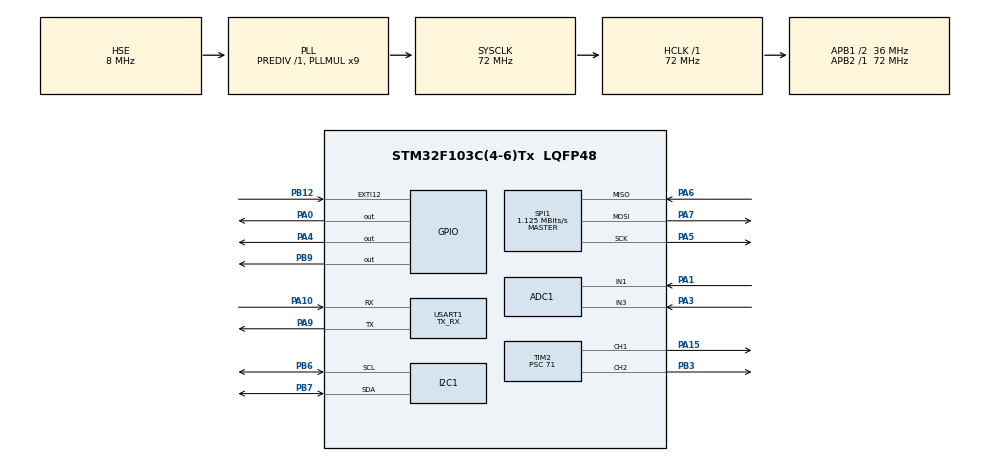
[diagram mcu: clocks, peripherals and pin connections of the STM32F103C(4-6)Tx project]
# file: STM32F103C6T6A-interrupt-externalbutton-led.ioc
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ADC1.Channel-11\#ChannelRegularConversion=ADC_CHANNEL_VREFINT
ADC1.Channel-6\#ChannelRegularConversion=ADC_CHANNEL_1
ADC1.Channel-8\#ChannelRegularConversion=ADC_CHANNEL_3
ADC1.Channel-9\#ChannelRegularConversion=ADC_CHANNEL_TEMPSENSOR
ADC1.ContinuousConvMode=ENABLE
ADC1.EnableRegularConversion=ENABLE
ADC1.NbrOfConversion=4
ADC1.NbrOfConversionFlag=1
ADC1.Rank-11\#ChannelRegularConversion=4
ADC1.Rank-6\#ChannelRegularConversion=1
ADC1.Rank-8\#ChannelRegularConversion=2
ADC1.Rank-9\#ChannelRegularConversion=3
ADC1.SamplingTime-11\#ChannelRegularConversion=ADC_SAMPLETIME_239CYCLES_5
ADC1.SamplingTime-6\#ChannelRegularConversion=ADC_SAMPLETIME_239CYCLES_5
ADC1.SamplingTime-8\#ChannelRegularConversion=ADC_SAMPLETIME_239CYCLES_5
ADC1.SamplingTime-9\#ChannelRegularConversion=ADC_SAMPLETIME_239CYCLES_5
ADC1.master=1
Dma.ADC1.0.Direction=DMA_PERIPH_TO_MEMORY
Dma.ADC1.0.Instance=DMA1_Channel1
Dma.ADC1.0.MemDataAlignment=DMA_MDATAALIGN_WORD
Dma.ADC1.0.MemInc=DMA_MINC_ENABLE
Dma.ADC1.0.Mode=DMA_CIRCULAR
Dma.ADC1.0.PeriphDataAlignment=DMA_PDATAALIGN_WORD
Dma.ADC1.0.PeriphInc=DMA_PINC_DISABLE
Dma.ADC1.0.Priority=DMA_PRIORITY_LOW
Dma.Request0=ADC1
Dma.Request1=USART1_RX
Dma.Request2=USART1_TX
Dma.USART1_RX.1.Direction=DMA_PERIPH_TO_MEMORY
Dma.USART1_RX.1.Instance=DMA1_Channel5
Dma.USART1_RX.1.MemDataAlignment=DMA_MDATAALIGN_BYTE
Dma.USART1_RX.1.MemInc=DMA_MINC_ENABLE
Dma.USART1_RX.1.Mode=DMA_CIRCULAR
Dma.USART1_RX.1.PeriphDataAlignment=DMA_PDATAALIGN_BYTE
Dma.USART1_RX.1.PeriphInc=DMA_PINC_DISABLE
Dma.USART1_RX.1.Priority=DMA_PRIORITY_LOW
Dma.USART1_TX.2.Direction=DMA_MEMORY_TO_PERIPH
Dma.USART1_TX.2.Instance=DMA1_Channel4
Dma.USART1_TX.2.MemDataAlignment=DMA_MDATAALIGN_BYTE
Dma.USART1_TX.2.MemInc=DMA_MINC_ENABLE
Dma.USART1_TX.2.Mode=DMA_NORMAL
Dma.USART1_TX.2.PeriphDataAlignment=DMA_PDATAALIGN_BYTE
Dma.USART1_TX.2.PeriphInc=DMA_PINC_DISABLE
Dma.USART1_TX.2.Priority=DMA_PRIORITY_LOW
I2C1.OwnAddress=0x31
Mcu.Family=STM32F1
Mcu.Name=STM32F103C(4-6)Tx
Mcu.Package=LQFP48
NVIC.ADC1_2_IRQn=true\:0\:0\:false\:false\:true\:true\:true\:true
NVIC.DMA1_Channel1_IRQn=true\:0\:0\:false\:false\:true\:false\:true\:true
NVIC.DMA1_Channel4_IRQn=true\:0\:0\:false\:false\:true\:false\:true\:true
NVIC.DMA1_Channel5_IRQn=true\:0\:0\:false\:false\:true\:false\:true\:true
NVIC.EXTI15_10_IRQn=true\:0\:0\:false\:false\:true\:true\:true\:true
NVIC.PriorityGroup=NVIC_PRIORITYGROUP_4
NVIC.TIM1_UP_IRQn=true\:0\:0\:false\:false\:true\:true\:true\:true
NVIC.USART1_IRQn=true\:0\:0\:false\:false\:true\:true\:true\:true
PA0-WKUP.Signal=GPIO_Output
PA1.Signal=ADCx_IN1
PA10.Mode=Asynchronous
PA10.Signal=USART1_RX
PA13.Mode=Serial_Wire
PA13.Signal=SYS_JTMS-SWDIO
PA14.Mode=Serial_Wire
PA14.Signal=SYS_JTCK-SWCLK
PA15.Signal=S_TIM2_CH1_ETR
PA3.Signal=ADCx_IN3
PA4.Signal=GPIO_Output
PA5.Mode=Full_Duplex_Master
PA5.Signal=SPI1_SCK
PA6.Mode=Full_Duplex_Master
PA6.Signal=SPI1_MISO
PA7.Mode=Full_Duplex_Master
PA7.Signal=SPI1_MOSI
PA9.Mode=Asynchronous
PA9.Signal=USART1_TX
PB12.GPIO_ModeDefaultEXTI=GPIO_MODE_IT_RISING_FALLING
PB12.GPIO_PuPd=GPIO_PULLDOWN
PB12.Signal=GPXTI12
PB3.Signal=S_TIM2_CH2
PB6.Mode=I2C
PB6.Signal=I2C1_SCL
PB7.Mode=I2C
PB7.Signal=I2C1_SDA
PB9.Signal=GPIO_Output
PD0-OSC_IN.Mode=HSE-External-Oscillator
PD0-OSC_IN.Signal=RCC_OSC_IN
PD1-OSC_OUT.Mode=HSE-External-Oscillator
PD1-OSC_OUT.Signal=RCC_OSC_OUT
ProjectManager.HeapSize=0x200
ProjectManager.StackSize=0x400
ProjectManager.TargetToolchain=CMake
RCC.ADCPresc=RCC_ADCPCLK2_DIV6
RCC.AHBFreq_Value=72000000
RCC.APB1CLKDivider=RCC_HCLK_DIV2
RCC.APB1Freq_Value=36000000
RCC.APB1TimFreq_Value=72000000
RCC.APB2Freq_Value=72000000
RCC.APB2TimFreq_Value=72000000
RCC.DATA_CACHE_ENABLE=1
RCC.HCLKFreq_Value=72000000
RCC.INSTRUCTION_CACHE_ENABLE=1
RCC.PLLMUL=RCC_PLL_MUL9
RCC.PLLSourceVirtual=RCC_PLLSOURCE_HSE
RCC.PWR_Regulator_Voltage_Scale=PWR_REGULATOR_VOLTAGE_SCALE1
RCC.RCC_TIM_PRescaler_Selection=RCC_TIMPRES_DESACTIVATED
RCC.SYSCLKFreq_VALUE=72000000
RCC.SYSCLKSource=RCC_SYSCLKSOURCE_PLLCLK
RCC.USBFreq_Value=72000000
SH.ADCx_IN1.0=ADC1_IN1,IN1
SH.ADCx_IN3.0=ADC1_IN3,IN3
SH.S_TIM2_CH1_ETR.0=TIM2_CH1,PWM Generation1 CH1
SH.S_TIM2_CH2.0=TIM2_CH2,PWM Generation2 CH2
SPI1.BaudRatePrescaler=SPI_BAUDRATEPRESCALER_64
SPI1.CalculateBaudRate=1.125 MBits/s
SPI1.Direction=SPI_DIRECTION_2LINES
SPI1.Mode=SPI_MODE_MASTER
SPI1.VirtualType=VM_MASTER
TIM1.Period=9999
TIM1.Prescaler=14399
TIM2.Channel-PWM\ Generation1\ CH1=TIM_CHANNEL_1
TIM2.Channel-PWM\ Generation2\ CH2=TIM_CHANNEL_2
TIM2.Period=999
TIM2.Prescaler=71
USART1.Mode=MODE_TX_RX
USART1.VirtualMode=VM_ASYNC
VP_ADC1_TempSens_Input.Mode=IN-TempSens
VP_ADC1_Vref_Input.Mode=IN-Vrefint
VP_TIM1_VS_ClockSourceINT.Mode=Internal
board=custom

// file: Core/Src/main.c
/* USER CODE BEGIN Header */
/**
  ******************************************************************************
  * @file           : main.c
  * @brief          : Main program body
  ******************************************************************************
  * @attention
  *
  * Copyright (c) 2026 STMicroelectronics.
  * All rights reserved.
  *
  * This software is licensed under terms that can be found in the LICENSE file
  * in the root directory of this software component.
  * If no LICENSE file comes with this software, it is provided AS-IS.
  *
  ******************************************************************************
  */
/* USER CODE END Header */
#include "main.h"

/* USER CODE BEGIN Includes */
#include <stdbool.h>
#include <string.h>
#include <stdio.h>
#include "MFRC522.h"
#define MY_MAP(x, in_min, in_max, out_min, out_max) \
    (((x) - (in_min)) * ((out_max) - (out_min)) / ((in_max) - (in_min)) + (out_min))

#define DS3231_ADDR  0x68 << 1  // HAL için 8-bit adres = 0xD0
#define DS3231_EEPROM_AT24C32_ADDR  (0x57 << 1)  // 0xAE
#define LCD_ADDR (0x27 << 1) // veya 0x4E

/* USER CODE END Includes */

ADC_HandleTypeDef hadc1;
DMA_HandleTypeDef hdma_adc1;

I2C_HandleTypeDef hi2c1;

SPI_HandleTypeDef hspi1;

TIM_HandleTypeDef htim1;
TIM_HandleTypeDef htim2;

UART_HandleTypeDef huart1;
DMA_HandleTypeDef hdma_usart1_rx;
DMA_HandleTypeDef hdma_usart1_tx;

/* USER CODE BEGIN PV */
MFRC522_HandleTypeDef rfid;
/* USER CODE END PV */

void SystemClock_Config(void);
static void MX_GPIO_Init(void);
static void MX_DMA_Init(void);
static void MX_ADC1_Init(void);
static void MX_TIM1_Init(void);
static void MX_TIM2_Init(void);
static void MX_USART1_UART_Init(void);
static void MX_I2C1_Init(void);
static void MX_SPI1_Init(void);

/* USER CODE BEGIN 0 */
volatile int counter = 0;
uint8_t channelIndex = 0;
uint32_t adcChannels[4];
uint32_t myAdcValueNTC = 0;
uint8_t myAdcShortValueCelsius = 0;
uint16_t timerCounter = 0;
uint16_t ledBrightness = 0;

uint8_t rxBufferDMA[20];

uint8_t rxDataChar;
uint8_t rxDataStringBuffer[10];
uint8_t rxReadyString[10];
uint8_t rxIndex = 0;
bool rxDataReadyFlag = 0;
bool txSuccessFlag = 0;

char txMsgDMA[] = "Hello DMA World!\r\n";

int _write(int file, char* ptr, int len) {
    // Veriyi UART üzerinden bloklayıcı modda gönder
    HAL_StatusTypeDef status = HAL_UART_Transmit(&huart1, (uint8_t*)ptr, len, HAL_MAX_DELAY);
    return (status == HAL_OK) ? len : 0;
}

void printBinary(uint8_t v) {
    for (int i = 7; i >= 0; i--)
        printf("%d", (v >> i) & 1);
}

///////////// DS3231 RTC BEGIN ////////////////

uint8_t dec2bcd(uint8_t val) { return ((val / 10) << 4) | (val % 10); }
uint8_t bcd2dec(uint8_t val) { return ((val >> 4) * 10) + (val & 0x0F); }

typedef struct {
    uint8_t sn, dk, sa;
    uint8_t gun, tarih, ay, yil;
} DS3231_t;

void DS3231_GetDateTime(DS3231_t* dt) {
    uint8_t reg = 0x00; // cursor'ı 0x00'a taşı
    uint8_t buf[7];

    // Önce cursor'ı 0x00'a al
    HAL_I2C_Master_Transmit(&hi2c1, DS3231_ADDR, &reg, 1, HAL_MAX_DELAY);

    // 7 byte oku: sn, dk, sa, gun, tarih, ay, yil
    // Master 7×8 = 56 clock üretir, her byte sonrası ACK gönderir
    // Son byte'tan sonra NACK gönderip STOP ile iletişimi keser
    HAL_I2C_Master_Receive(&hi2c1, DS3231_ADDR, buf, 7, HAL_MAX_DELAY);

    dt->sn = bcd2dec(buf[0] & 0x7F); // bit7 her zaman 0, maskeliyoruz
    dt->dk = bcd2dec(buf[1] & 0x7F);
    dt->sa = bcd2dec(buf[2] & 0x3F); // bit7,6 mod bitleri, maskeliyoruz
    dt->gun = bcd2dec(buf[3] & 0x07); // bit2-0 geçerli
    dt->tarih = bcd2dec(buf[4] & 0x3F);
    dt->ay = bcd2dec(buf[5] & 0x1F); // bit4-0 geçerli
    dt->yil = bcd2dec(buf[6]);
}

void DS3231_SetDateTime(uint8_t sn, uint8_t dk, uint8_t sa,
                        uint8_t gun, uint8_t tarih, uint8_t ay, uint8_t yil) {
    uint8_t data[8];

    data[0] = 0x00; // cursor'ı 0x00'a (saniye register'ına) taşı
    data[1] = dec2bcd(sn); // 0x00 → saniye
    data[2] = dec2bcd(dk); // 0x01 → dakika
    data[3] = dec2bcd(sa); // 0x02 → saat
    data[4] = dec2bcd(gun); // 0x03 → haftanın günü
    data[5] = dec2bcd(tarih); // 0x04 → ayın günü
    data[6] = dec2bcd(ay); // 0x05 → ay
    data[7] = dec2bcd(yil); // 0x06 → yıl (2025 için 25 gönder)

    // 8 byte gönder: 1 byte register adresi + 7 byte veri
    HAL_I2C_Master_Transmit(&hi2c1, DS3231_ADDR, data, 8, HAL_MAX_DELAY);
}

// Tek byte yazma
void EEPROM_WriteByte(uint16_t adres, uint8_t veri) {
    HAL_StatusTypeDef status = HAL_I2C_Mem_Write(&hi2c1, DS3231_EEPROM_AT24C32_ADDR, adres, I2C_MEMADD_SIZE_16BIT,
                                                 &veri, 1, HAL_MAX_DELAY);
    if (status != HAL_OK) {
        printf("EEPROM Yazma Hatasi: %d\r\n", status);
    }
    HAL_Delay(10); // EEPROM dahili yazma döngüsü için bekleme (genelde 5ms sürer)
}

// Tek byte okuma
uint8_t EEPROM_ReadByte(uint16_t adres) {
    uint8_t veri;
    HAL_I2C_Mem_Read(&hi2c1, DS3231_EEPROM_AT24C32_ADDR, adres, I2C_MEMADD_SIZE_16BIT, &veri, 1, HAL_MAX_DELAY);
    return veri;
}

///////////// DS3231 RTC END ////////////////

///////////// LCD I2C BEGIN ////////////////

uint8_t lcd_backlight_val = 0x08; // Varsayılan olarak açık (0x08)

void lcd_send_cmd(char cmd) {
    char data_u, data_l;
    uint8_t data_t[4];
    data_u = (cmd & 0xf0);
    data_l = ((cmd << 4) & 0xf0);
    data_t[0] = data_u | 0x04 | lcd_backlight_val; // en=1, rs=0
    data_t[1] = data_u | lcd_backlight_val; // en=0, rs=0
    data_t[2] = data_l | 0x04 | lcd_backlight_val; // en=1, rs=0
    data_t[3] = data_l | lcd_backlight_val; // en=0, rs=0
    HAL_I2C_Master_Transmit(&hi2c1, LCD_ADDR, (uint8_t*)data_t, 4, 100);
}

void lcd_send_data(char data) {
    char data_u, data_l;
    uint8_t data_t[4];
    data_u = (data & 0xf0);
    data_l = ((data << 4) & 0xf0);
    data_t[0] = data_u | 0x05 | lcd_backlight_val; // EN=1, RS=1
    data_t[1] = data_u | 0x01 | lcd_backlight_val; // EN=0, RS=1
    data_t[2] = data_l | 0x05 | lcd_backlight_val; // EN=1, RS=1
    data_t[3] = data_l | 0x01 | lcd_backlight_val; // EN=0, RS=1
    HAL_I2C_Master_Transmit(&hi2c1, LCD_ADDR, (uint8_t*)data_t, 4, 100);
}

// LCD Başlatma Ayarları
void lcd_init(void) {
    HAL_Delay(50); // LCD'nin kendine gelmesi için bekleme
    lcd_send_cmd(0x30);
    HAL_Delay(5);
    lcd_send_cmd(0x30);
    HAL_Delay(1);
    lcd_send_cmd(0x30);
    HAL_Delay(10);
    lcd_send_cmd(0x20); // 4-bit moduna geçiş
    HAL_Delay(10);

    lcd_send_cmd(0x28); // 2 satır, 5x8 font
    HAL_Delay(1);
    lcd_send_cmd(0x08); // Ekran kapalı
    HAL_Delay(1);
    lcd_send_cmd(0x01); // Ekranı temizle
    HAL_Delay(2);
    lcd_send_cmd(0x06); // Giriş modu: Otomatik artır
    HAL_Delay(1);
    lcd_send_cmd(0x0C); // Ekran açık, imleç kapalı
}

// Ekrana string yazdırma fonksiyonu
void lcd_send_string(char* str) {
    while (*str) lcd_send_data(*str++);
}

// Belirli bir koordinata gitme
void lcd_put_cur(int row, int col) {
    switch (row) {
    case 0: col |= 0x80;
        break;
    case 1: col |= 0xC0;
        break;
    }
    lcd_send_cmd(col);
}

void lcd_backlight_on(void) {
    lcd_backlight_val = 0x08;
    lcd_send_cmd(0x00); // Durumu güncellemek için boş komut gönder
}

void lcd_backlight_off(void) {
    lcd_backlight_val = 0x00;
    lcd_send_cmd(0x00); // Durumu güncellemek için boş komut gönder
}

//////////// LCD I2C END ///////////////////

void HAL_SYSTICK_Callback(void) {
    ledBrightness = MY_MAP(adcChannels[1], 0, 4096, 0, 1000);
    __HAL_TIM_SET_COMPARE(&htim2, TIM_CHANNEL_1, ledBrightness);
    __HAL_TIM_SET_COMPARE(&htim2, TIM_CHANNEL_2, ledBrightness);
}

void HAL_GPIO_EXTI_Callback(uint16_t GPIO_Pin) {
    if (GPIO_Pin == GPIO_PIN_12) {
        GPIO_PinState btnPinStatus = HAL_GPIO_ReadPin(GPIOB, GPIO_PIN_12);
        HAL_GPIO_WritePin(GPIOB, GPIO_PIN_9, btnPinStatus);
        HAL_GPIO_WritePin(GPIOA, GPIO_PIN_0, btnPinStatus);

        strcpy((char*)txMsgDMA, "Trigger inside\r\n");
        HAL_UART_Transmit_DMA(&huart1, (uint8_t*)txMsgDMA, strlen(txMsgDMA));

        //DS3231_SetDateTime(0, 29, 22, 3, 9, 4, 26); // 14:30:00, Salı, 01.04.2025
        //printf("Tarih Yazildi");
    }
}

void HAL_TIM_PeriodElapsedCallback(TIM_HandleTypeDef* htim) {
    if (htim->Instance == TIM1)
        HAL_GPIO_TogglePin(GPIOB, GPIO_PIN_9);
}

void HAL_UART_RxCpltCallback(UART_HandleTypeDef* huart) {
    if (huart->Instance == USART1) {
        if (rxDataChar == '\n') {
            for (int i = 0; i < 10; i++) {
                rxReadyString[i] = 0;
            }
            for (int i = 0; i < rxIndex; i++) {
                rxReadyString[i] = rxDataStringBuffer[i];
            }
            rxIndex = 0;
            rxDataReadyFlag = true;
        }
        else {
            if (rxIndex < 10) {
                rxDataStringBuffer[rxIndex] = rxDataChar;
                rxIndex++;
            }
            rxDataReadyFlag = false;
        }
        printf("%s", rxBufferDMA);
        // Bir sonraki baytı alabilmek için kesmeyi tekrar aktif etmelisiniz.
        //HAL_UART_Receive_IT(&huart1, &rxDataChar, 1);
    }
}

void HAL_UART_TxCpltCallback(UART_HandleTypeDef* huart) {
    if (huart->Instance == USART1) {
        // Veri başarıyla gönderildi.
        // Burada bir bayrağı (flag) set edebilir veya yeni bir transfer başlatabilirsiniz.
        txSuccessFlag = true;
    }
}

/*
void HAL_ADC_ConvCpltCallback(ADC_HandleTypeDef* hadc) {
    if (hadc->Instance == ADC1) {
        adcChannels[channelIndex] = HAL_ADC_GetValue(hadc);
        channelIndex++;

        if (channelIndex >= 2) {
            channelIndex = 0;
            // Buraya "Tüm kanallar okundu" bayrağı koyabilirsin
        }
        // HAL_ADC_Start_IT(hadc);
        //myAdcValueNTC = HAL_ADC_GetValue(hadc);
        //myAdcShortValueCelsius = MY_MAP(myAdcValueNTC, 1800, 3000, 15, 65);
        // Eğer Continuous Mode "Disabled" ise, bir sonraki ölçüm için tekrar başlatman gerekir:
        HAL_ADC_Start_IT(hadc);
    }
}
*/

/* USER CODE END 0 */

int main(void) {

    /* MCU Configuration--------------------------------------------------------*/

    /* Reset of all peripherals, Initializes the Flash interface and the Systick. */
    HAL_Init();

    /* Configure the system clock */
    SystemClock_Config();

    /* Initialize all configured peripherals */
    MX_GPIO_Init();
    MX_DMA_Init();
    MX_ADC1_Init();
    MX_TIM1_Init();
    MX_TIM2_Init();
    MX_USART1_UART_Init();
    MX_I2C1_Init();
    MX_SPI1_Init();
    /* USER CODE BEGIN 2 */
    HAL_ADC_Start_DMA(&hadc1, adcChannels, 4);
    //HAL_ADCEx_Calibration_Start(&hadc1);
    //HAL_TIM_Base_Start(&htim1);
    HAL_TIM_Base_Start_IT(&htim1);
    HAL_TIM_PWM_Start(&htim2, TIM_CHANNEL_1);
    HAL_TIM_PWM_Start(&htim2, TIM_CHANNEL_2);
    //HAL_UART_Receive_IT(&huart1, &rxDataChar, 1);
    HAL_UART_Receive_DMA(&huart1, rxBufferDMA, 20);
    ////////////////////////////////////////////
    rfid.hspi = &hspi1;
    rfid.csPort = GPIOA;
    rfid.csPin = GPIO_PIN_4;

    MFRC522_Init(&rfid);
    ////////////////////////////////////////////

    // printf("Sistem baslatildi...\n");

    // printf("I2C slave cihazlar taraniyor...\n");

    /*
    for (uint8_t addr = 1; addr < 128; addr++) {
        if (HAL_I2C_IsDeviceReady(&hi2c1, addr << 1, 1, 10) == HAL_OK) {
            // printf("Cihaz bulundu: 0x%02X\r\n", addr);
        }
    }
    */
    // DS3231 EEPROM
    EEPROM_WriteByte(0x0000, 0x65); // 0. adrese 65 yaz
    EEPROM_WriteByte(0x0001, 0x33);
    EEPROM_WriteByte(0x0002, 0x22);

    // DS3231_SetDateTime(0, 47, 20, 3, 1, 4, 26); // 14:30:00, Salı, 01.04.2025
    // printf("Tarih Yazildix");

    /* USER CODE BEGIN 2 */
    lcd_init();

    lcd_put_cur(0, 0); // 1. satır başı
    lcd_send_string("STM32 Hazir!");

    lcd_put_cur(1, 0); // 2. satır başı
    lcd_send_string("I2C Basarili");

    char buf[64];
    /* USER CODE END 2 */

    /* Infinite loop */
    while (1) {

        /* USER CODE BEGIN 3 */
        /*
        if (rxDataReadyFlag) {
            HAL_UART_Transmit(&huart1, rxReadyString, 10, 0xFFFF);
            rxDataReadyFlag = false;
        }
        */

        DS3231_t zaman;
        DS3231_GetDateTime(&zaman);

        printf("%02d:%02d:%02d  %02d/%02d/20%02d\r\n",
               zaman.sa, zaman.dk, zaman.sn,
               zaman.tarih, zaman.ay, zaman.yil);

        uint8_t eeprom_buffer[3];
        HAL_I2C_Mem_Read(&hi2c1, DS3231_EEPROM_AT24C32_ADDR, 0x0000, I2C_MEMADD_SIZE_16BIT, eeprom_buffer, 3,
                         HAL_MAX_DELAY);
        /*
        printf("EEPROM: 0x%02X, 0x%02X, 0x%02X\r\n", eeprom_buffer[0], eeprom_buffer[1], eeprom_buffer[2]);
        */

        strcpy((char*)txMsgDMA, "While Loop\r\n");
        HAL_UART_Transmit_DMA(&huart1, (uint8_t*)txMsgDMA, strlen(txMsgDMA));

        // printf("loop...\n");

        //////////////////////////////////////
        HAL_Delay(500);
        if (MFRC522_IsNewCardPresent(&rfid)) {
            MFRC522_UID uid;
            if (MFRC522_ReadCardSerial(&rfid, &uid)) {
                snprintf(buf, sizeof(buf),
                         "UID: %02X %02X %02X %02X\r\n",
                         uid.uid[0], uid.uid[1], uid.uid[2], uid.uid[3]);
                HAL_UART_Transmit_DMA(&huart1, (uint8_t*)buf, strlen(buf));
            }
        }
        HAL_Delay(200);

        //////////////////////////////////////
        HAL_Delay(500);
    }
    /* USER CODE END 3 */
}

void SystemClock_Config(void) {
    RCC_OscInitTypeDef RCC_OscInitStruct = {0};
    RCC_ClkInitTypeDef RCC_ClkInitStruct = {0};
    RCC_PeriphCLKInitTypeDef PeriphClkInit = {0};

    /** Initializes the RCC Oscillators according to the specified parameters
    * in the RCC_OscInitTypeDef structure.
    */
    RCC_OscInitStruct.OscillatorType = RCC_OSCILLATORTYPE_HSE;
    RCC_OscInitStruct.HSEState = RCC_HSE_ON;
    RCC_OscInitStruct.HSEPredivValue = RCC_HSE_PREDIV_DIV1;
    RCC_OscInitStruct.HSIState = RCC_HSI_ON;
    RCC_OscInitStruct.PLL.PLLState = RCC_PLL_ON;
    RCC_OscInitStruct.PLL.PLLSource = RCC_PLLSOURCE_HSE;
    RCC_OscInitStruct.PLL.PLLMUL = RCC_PLL_MUL9;
    if (HAL_RCC_OscConfig(&RCC_OscInitStruct) != HAL_OK) {
        Error_Handler();
    }

    /** Initializes the CPU, AHB and APB buses clocks
    */
    RCC_ClkInitStruct.ClockType = RCC_CLOCKTYPE_HCLK | RCC_CLOCKTYPE_SYSCLK
        | RCC_CLOCKTYPE_PCLK1 | RCC_CLOCKTYPE_PCLK2;
    RCC_ClkInitStruct.SYSCLKSource = RCC_SYSCLKSOURCE_PLLCLK;
    RCC_ClkInitStruct.AHBCLKDivider = RCC_SYSCLK_DIV1;
    RCC_ClkInitStruct.APB1CLKDivider = RCC_HCLK_DIV2;
    RCC_ClkInitStruct.APB2CLKDivider = RCC_HCLK_DIV1;

    if (HAL_RCC_ClockConfig(&RCC_ClkInitStruct, FLASH_LATENCY_2) != HAL_OK) {
        Error_Handler();
    }
    PeriphClkInit.PeriphClockSelection = RCC_PERIPHCLK_ADC;
    PeriphClkInit.AdcClockSelection = RCC_ADCPCLK2_DIV6;
    if (HAL_RCCEx_PeriphCLKConfig(&PeriphClkInit) != HAL_OK) {
        Error_Handler();
    }
}

static void MX_ADC1_Init(void) {

    ADC_ChannelConfTypeDef sConfig = {0};

    /** Common config
    */
    hadc1.Instance = ADC1;
    hadc1.Init.ScanConvMode = ADC_SCAN_ENABLE;
    hadc1.Init.ContinuousConvMode = ENABLE;
    hadc1.Init.DiscontinuousConvMode = DISABLE;
    hadc1.Init.ExternalTrigConv = ADC_SOFTWARE_START;
    hadc1.Init.DataAlign = ADC_DATAALIGN_RIGHT;
    hadc1.Init.NbrOfConversion = 4;
    if (HAL_ADC_Init(&hadc1) != HAL_OK) {
        Error_Handler();
    }

    /** Configure Regular Channel
    */
    sConfig.Channel = ADC_CHANNEL_1;
    sConfig.Rank = ADC_REGULAR_RANK_1;
    sConfig.SamplingTime = ADC_SAMPLETIME_239CYCLES_5;
    if (HAL_ADC_ConfigChannel(&hadc1, &sConfig) != HAL_OK) {
        Error_Handler();
    }

    /** Configure Regular Channel
    */
    sConfig.Channel = ADC_CHANNEL_3;
    sConfig.Rank = ADC_REGULAR_RANK_2;
    if (HAL_ADC_ConfigChannel(&hadc1, &sConfig) != HAL_OK) {
        Error_Handler();
    }

    /** Configure Regular Channel
    */
    sConfig.Channel = ADC_CHANNEL_TEMPSENSOR;
    sConfig.Rank = ADC_REGULAR_RANK_3;
    if (HAL_ADC_ConfigChannel(&hadc1, &sConfig) != HAL_OK) {
        Error_Handler();
    }

    /** Configure Regular Channel
    */
    sConfig.Channel = ADC_CHANNEL_VREFINT;
    sConfig.Rank = ADC_REGULAR_RANK_4;
    if (HAL_ADC_ConfigChannel(&hadc1, &sConfig) != HAL_OK) {
        Error_Handler();
    }
}

static void MX_I2C1_Init(void) {

    hi2c1.Instance = I2C1;
    hi2c1.Init.ClockSpeed = 100000;
    hi2c1.Init.DutyCycle = I2C_DUTYCYCLE_2;
    hi2c1.Init.OwnAddress1 = 98;
    hi2c1.Init.AddressingMode = I2C_ADDRESSINGMODE_7BIT;
    hi2c1.Init.DualAddressMode = I2C_DUALADDRESS_DISABLE;
    hi2c1.Init.OwnAddress2 = 0;
    hi2c1.Init.GeneralCallMode = I2C_GENERALCALL_DISABLE;
    hi2c1.Init.NoStretchMode = I2C_NOSTRETCH_DISABLE;
    if (HAL_I2C_Init(&hi2c1) != HAL_OK) {
        Error_Handler();
    }
}

static void MX_SPI1_Init(void) {

    /* SPI1 parameter configuration*/
    hspi1.Instance = SPI1;
    hspi1.Init.Mode = SPI_MODE_MASTER;
    hspi1.Init.Direction = SPI_DIRECTION_2LINES;
    hspi1.Init.DataSize = SPI_DATASIZE_8BIT;
    hspi1.Init.CLKPolarity = SPI_POLARITY_LOW;
    hspi1.Init.CLKPhase = SPI_PHASE_1EDGE;
    hspi1.Init.NSS = SPI_NSS_SOFT;
    hspi1.Init.BaudRatePrescaler = SPI_BAUDRATEPRESCALER_64;
    hspi1.Init.FirstBit = SPI_FIRSTBIT_MSB;
    hspi1.Init.TIMode = SPI_TIMODE_DISABLE;
    hspi1.Init.CRCCalculation = SPI_CRCCALCULATION_DISABLE;
    hspi1.Init.CRCPolynomial = 10;
    if (HAL_SPI_Init(&hspi1) != HAL_OK) {
        Error_Handler();
    }
}

static void MX_TIM1_Init(void) {

    TIM_ClockConfigTypeDef sClockSourceConfig = {0};
    TIM_MasterConfigTypeDef sMasterConfig = {0};

    htim1.Instance = TIM1;
    htim1.Init.Prescaler = 14399;
    htim1.Init.CounterMode = TIM_COUNTERMODE_UP;
    htim1.Init.Period = 9999;
    htim1.Init.ClockDivision = TIM_CLOCKDIVISION_DIV1;
    htim1.Init.RepetitionCounter = 0;
    htim1.Init.AutoReloadPreload = TIM_AUTORELOAD_PRELOAD_DISABLE;
    if (HAL_TIM_Base_Init(&htim1) != HAL_OK) {
        Error_Handler();
    }
    sClockSourceConfig.ClockSource = TIM_CLOCKSOURCE_INTERNAL;
    if (HAL_TIM_ConfigClockSource(&htim1, &sClockSourceConfig) != HAL_OK) {
        Error_Handler();
    }
    sMasterConfig.MasterOutputTrigger = TIM_TRGO_RESET;
    sMasterConfig.MasterSlaveMode = TIM_MASTERSLAVEMODE_DISABLE;
    if (HAL_TIMEx_MasterConfigSynchronization(&htim1, &sMasterConfig) != HAL_OK) {
        Error_Handler();
    }
}

static void MX_TIM2_Init(void) {

    TIM_MasterConfigTypeDef sMasterConfig = {0};
    TIM_OC_InitTypeDef sConfigOC = {0};

    htim2.Instance = TIM2;
    htim2.Init.Prescaler = 71;
    htim2.Init.CounterMode = TIM_COUNTERMODE_UP;
    htim2.Init.Period = 999;
    htim2.Init.ClockDivision = TIM_CLOCKDIVISION_DIV1;
    htim2.Init.AutoReloadPreload = TIM_AUTORELOAD_PRELOAD_DISABLE;
    if (HAL_TIM_PWM_Init(&htim2) != HAL_OK) {
        Error_Handler();
    }
    sMasterConfig.MasterOutputTrigger = TIM_TRGO_RESET;
    sMasterConfig.MasterSlaveMode = TIM_MASTERSLAVEMODE_DISABLE;
    if (HAL_TIMEx_MasterConfigSynchronization(&htim2, &sMasterConfig) != HAL_OK) {
        Error_Handler();
    }
    sConfigOC.OCMode = TIM_OCMODE_PWM1;
    sConfigOC.Pulse = 0;
    sConfigOC.OCPolarity = TIM_OCPOLARITY_HIGH;
    sConfigOC.OCFastMode = TIM_OCFAST_DISABLE;
    if (HAL_TIM_PWM_ConfigChannel(&htim2, &sConfigOC, TIM_CHANNEL_1) != HAL_OK) {
        Error_Handler();
    }
    if (HAL_TIM_PWM_ConfigChannel(&htim2, &sConfigOC, TIM_CHANNEL_2) != HAL_OK) {
        Error_Handler();
    }
    HAL_TIM_MspPostInit(&htim2);
}

static void MX_USART1_UART_Init(void) {

    huart1.Instance = USART1;
    huart1.Init.BaudRate = 115200;
    huart1.Init.WordLength = UART_WORDLENGTH_8B;
    huart1.Init.StopBits = UART_STOPBITS_1;
    huart1.Init.Parity = UART_PARITY_NONE;
    huart1.Init.Mode = UART_MODE_TX_RX;
    huart1.Init.HwFlowCtl = UART_HWCONTROL_NONE;
    huart1.Init.OverSampling = UART_OVERSAMPLING_16;
    if (HAL_UART_Init(&huart1) != HAL_OK) {
        Error_Handler();
    }
}

static void MX_DMA_Init(void) {
    /* DMA controller clock enable */
    __HAL_RCC_DMA1_CLK_ENABLE();

    /* DMA interrupt init */
    /* DMA1_Channel1_IRQn interrupt configuration */
    HAL_NVIC_SetPriority(DMA1_Channel1_IRQn, 0, 0);
    HAL_NVIC_EnableIRQ(DMA1_Channel1_IRQn);
    /* DMA1_Channel4_IRQn interrupt configuration */
    HAL_NVIC_SetPriority(DMA1_Channel4_IRQn, 0, 0);
    HAL_NVIC_EnableIRQ(DMA1_Channel4_IRQn);
    /* DMA1_Channel5_IRQn interrupt configuration */
    HAL_NVIC_SetPriority(DMA1_Channel5_IRQn, 0, 0);
    HAL_NVIC_EnableIRQ(DMA1_Channel5_IRQn);
}

static void MX_GPIO_Init(void) {
    GPIO_InitTypeDef GPIO_InitStruct = {0};

    /* GPIO Ports Clock Enable */
    __HAL_RCC_GPIOD_CLK_ENABLE();
    __HAL_RCC_GPIOA_CLK_ENABLE();
    __HAL_RCC_GPIOB_CLK_ENABLE();

    /*Configure GPIO pin Output Level */
    HAL_GPIO_WritePin(GPIOA, GPIO_PIN_0 | GPIO_PIN_4, GPIO_PIN_RESET);

    /*Configure GPIO pin Output Level */
    HAL_GPIO_WritePin(GPIOB, GPIO_PIN_9, GPIO_PIN_RESET);

    /*Configure GPIO pins : PA0 PA4 */
    GPIO_InitStruct.Pin = GPIO_PIN_0 | GPIO_PIN_4;
    GPIO_InitStruct.Mode = GPIO_MODE_OUTPUT_PP;
    GPIO_InitStruct.Pull = GPIO_NOPULL;
    GPIO_InitStruct.Speed = GPIO_SPEED_FREQ_LOW;
    HAL_GPIO_Init(GPIOA, &GPIO_InitStruct);

    /*Configure GPIO pin : PB12 */
    GPIO_InitStruct.Pin = GPIO_PIN_12;
    GPIO_InitStruct.Mode = GPIO_MODE_IT_RISING_FALLING;
    GPIO_InitStruct.Pull = GPIO_PULLDOWN;
    HAL_GPIO_Init(GPIOB, &GPIO_InitStruct);

    /*Configure GPIO pin : PB9 */
    GPIO_InitStruct.Pin = GPIO_PIN_9;
    GPIO_InitStruct.Mode = GPIO_MODE_OUTPUT_PP;
    GPIO_InitStruct.Pull = GPIO_NOPULL;
    GPIO_InitStruct.Speed = GPIO_SPEED_FREQ_LOW;
    HAL_GPIO_Init(GPIOB, &GPIO_InitStruct);

    /* EXTI interrupt init*/
    HAL_NVIC_SetPriority(EXTI15_10_IRQn, 0, 0);
    HAL_NVIC_EnableIRQ(EXTI15_10_IRQn);

}

void Error_Handler(void) {
    __disable_irq();
    while (1) {
    }
}
